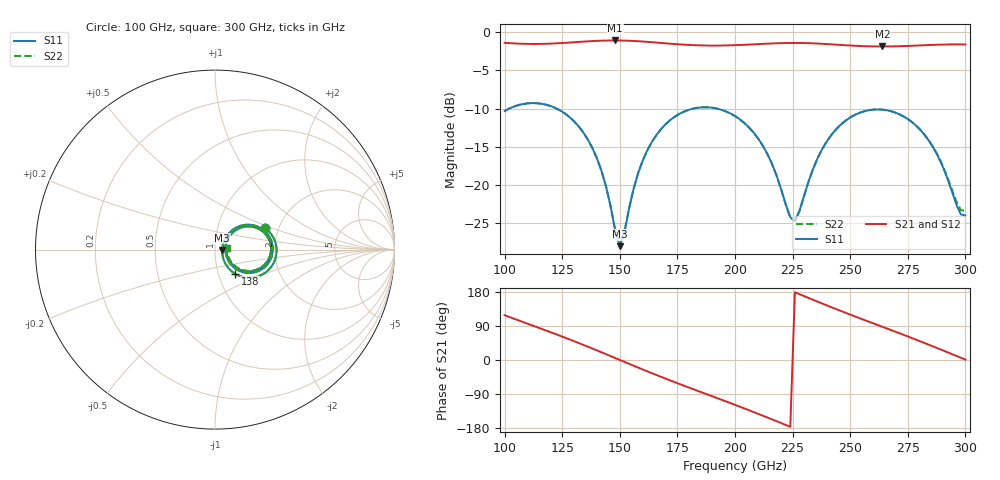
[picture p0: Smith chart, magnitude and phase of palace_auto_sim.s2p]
#  GHZ S DB R 50
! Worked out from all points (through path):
!   101 points, 100 GHz to 300 GHz, reference 50 ohm
!   highest |S21| = -1.08 dB at 148 GHz (marker M1); lowest = -1.9 dB at 264 GHz (marker M2)
!   group delay of S21, straight-line fit = 6.65 ps
!   lowest |S11| = -28.0 dB at 150 GHz (marker M3), VSWR 1.08, Z = 54.1 - j0.291 ohm
!   |S11| at or under -10 dB: start of sweep to 102 GHz; 122.5 GHz to 181.9 GHz (59.38 GHz wide, 39 % of centre); 192.1 GHz to end of sweep
!   |S22| runs from -27.9 to -9.3 dB; largest |S21 - S12| = 9.9e-14
!   S11 on the Smith chart (normalised r, x): 100 GHz: 1.71, +0.45; 138 GHz: 1.20, -0.34; 300 GHz: 1.13, +0.02
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100  -10.33 23.0  -1.39 118.2  -1.39 118.2  -10.32 23.0
118  -9.49 -12.8  -1.51 77.8  -1.51 77.8  -9.50 -12.8
134  -13.06 -44.0  -1.24 40.3  -1.24 40.3  -13.07 -43.9
138  -15.11 -50.5  -1.16 30.5  -1.16 30.5  -15.11 -50.3
144  -20.19 -53.7  -1.09 15.4  -1.09 15.4  -20.18 -53.4
148  -25.96 -35.2  -1.08 5.2  -1.08 5.2  -25.89 -34.6
150  -28.03 -3.9  -1.09 0.1  -1.09 0.1  -27.89 -3.7
158  -18.42 49.8  -1.18 -20.1  -1.18 -20.1  -18.41 49.6
168  -12.66 36.7  -1.41 -44.7  -1.41 -44.7  -12.66 36.6
184  -9.89 6.5  -1.72 -81.8  -1.72 -81.8  -9.89 6.4
200  -10.98 -23.0  -1.70 -118.3  -1.70 -118.3  -10.99 -23.1
212  -14.82 -41.2  -1.53 -146.7  -1.53 -146.7  -14.84 -41.2
224  -24.24 -15.7  -1.41 -176.4  -1.41 -176.4  -24.32 -15.5
226  -24.66 6.2  -1.41 178.6  -1.41 178.6  -24.74 6.6
234  -17.81 43.7  -1.46 158.5  -1.46 158.5  -17.82 44.1
240  -14.23 39.6  -1.56 143.7  -1.56 143.7  -14.23 39.9
248  -11.58 26.9  -1.71 124.5  -1.71 124.5  -11.58 27.2
264  -10.14 -2.9  -1.87 87.5  -1.87 87.5  -10.14 -2.4
268  -10.37 -10.3  -1.86 78.4  -1.86 78.4  -10.37 -9.8
284  -14.14 -36.9  -1.68 40.6  -1.68 40.6  -14.11 -35.8
298  -23.87 -10.4  -1.60 6.0  -1.60 6.0  -23.30 -9.1
300  -24.00 9.0  -1.61 1.0  -1.61 1.0  -23.39 8.8
